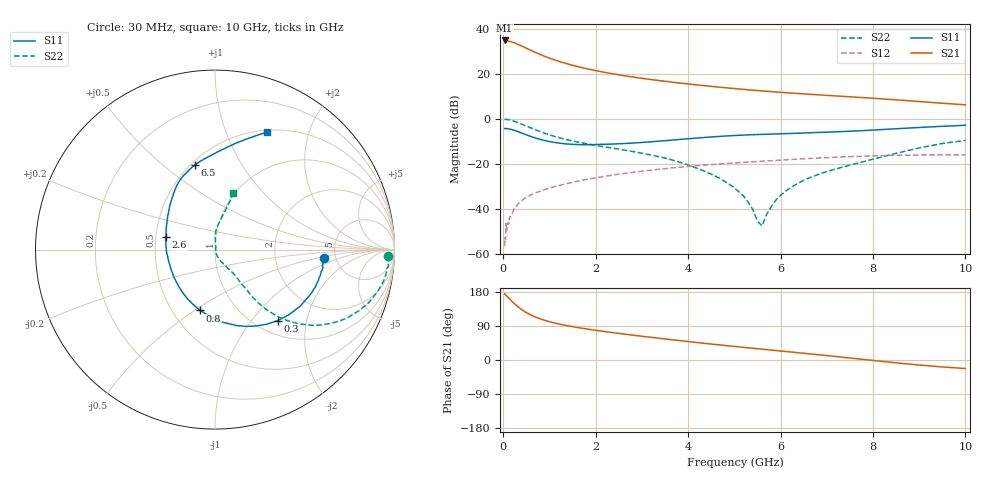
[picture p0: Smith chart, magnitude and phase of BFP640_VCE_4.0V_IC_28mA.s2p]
! (c) 2013  Infineon Technologies AG, Munich
! Infineon Technologies  Discrete & RF Semiconductors
! BFP640
! VCE =  4.0 V,  IC =  28 mA
! Common Emitter S-Parameters:  Apr 2013
# GHz  S  MA  R  50
!  f  S11  S21  S12  S22
! GHz  MAG  ANG  MAG  ANG  MAG  ANG  MAG  ANG
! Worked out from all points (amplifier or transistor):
!   99 points, 30 MHz to 10 GHz, reference 50 ohm
!   highest |S21| = 34.7 dB at 30 MHz (marker M1)
!   |S21| within 3 dB of that: start of sweep to 455.2 MHz
!   unconditionally stable (mu >= 1): 2.319 GHz to end of sweep
!   at 350 MHz: K = 0.38, MSG = 34.9 dB, |S12| = -37.1 dB
!   at 3.5 GHz: K = 1.05, MAG = 18.0 dB, |S12| = -22.1 dB
!   at 10 GHz: K = 1.07, MAG = 9.5 dB, |S12| = -15.9 dB
!   S11 on the Smith chart (normalised r, x): 30 MHz: 4.01, -0.61; 300 MHz: 1.25, -1.37; 800 MHz: 0.68, -0.53; 2.6 GHz: 0.57, +0.09; 6.5 GHz: 0.52, +0.64; 10 GHz: 0.52, +1.40
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0.03  0.6084 -4.5  54.35 174.8  0.0015 52.6  0.9648 -2.0
0.09  0.6006 -15.3  53.23 167.2  0.0048 74.4  0.9617 -8.5
0.15  0.5866 -25.4  51.64 159.6  0.0066 76.2  0.9353 -14.5
0.2  0.5702 -33.4  49.73 153.5  0.0083 71.3  0.9062 -19.0
0.25  0.5494 -41.2  47.74 147.7  0.0109 72.6  0.8713 -23.0
0.3  0.5287 -48.4  45.38 142.5  0.0121 71.4  0.8343 -26.8
0.4  0.4822 -62.0  40.88 133.0  0.0152 68.0  0.7574 -33.0
0.5  0.4404 -74.0  36.56 125.3  0.0181 65.1  0.6866 -37.9
0.6  0.405 -84.8  32.7 118.7  0.0207 63.6  0.6229 -41.6
0.7  0.3731 -94.6  29.4 113.2  0.0229 62.9  0.567 -44.3
0.8  0.349 -103.7  26.55 108.6  0.0248 62.0  0.5176 -46.5
1  0.3132 -119.7  22.08 101.2  0.0291 60.2  0.4393 -49.4
1.2  0.2891 -133.7  18.8 95.2  0.0331 59.1  0.3822 -50.9
1.7  0.2661 -161.0  13.63 83.9  0.0432 57.1  0.2921 -51.6
2.6  0.2818 165.8  9.063 68.7  0.0608 51.5  0.204 -52.0
3.4  0.3208 145.3  6.961 57.0  0.0765 45.4  0.1417 -54.2
5.1  0.4296 117.6  4.572 34.6  0.1064 31.2  0.0241 -73.0
5.6  0.4506 112.4  4.14 28.5  0.1144 27.1  0.0042 11.5
6.5  0.4837 103.6  3.561 17.8  0.1297 19.3  0.0432 86.6
6.7  0.4917 101.4  3.453 15.4  0.1327 17.3  0.0526 87.5
8.5  0.6 79.5  2.624 -7.5  0.1546 -0.5  0.1711 79.3
10  0.7161 66.1  2.038 -22.5  0.1595 -12.4  0.3318 72.2
